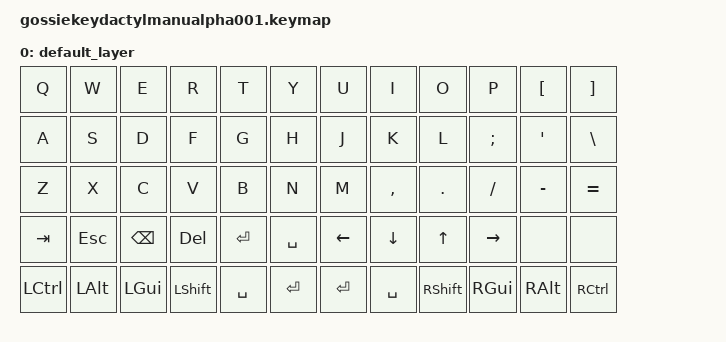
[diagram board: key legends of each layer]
#include <behaviors.dtsi>
#include <dt-bindings/zmk/keys.h>

/ {
    keymap {
        compatible = "zmk,keymap";

        default_layer {
            bindings = <
                &kp Q &kp W &kp E &kp R &kp T &kp Y  &kp U &kp I &kp O &kp P &kp LBKT &kp RBKT
                &kp A &kp S &kp D &kp F &kp G &kp H  &kp J &kp K &kp L &kp SEMI &kp SQT &kp BSLH
                &kp Z &kp X &kp C &kp V &kp B &kp N  &kp M &kp COMMA &kp DOT &kp SLASH &kp MINUS &kp EQUAL
                &kp TAB &kp ESC &kp BSPC &kp DEL &kp RET &kp SPACE  &kp LEFT &kp DOWN &kp UP &kp RIGHT &none &none
                &kp LCTRL &kp LALT &kp LGUI &kp LSHFT &kp SPACE &kp RET  &kp RET &kp SPACE &kp RSHFT &kp RGUI &kp RALT &kp RCTRL
            >;
        };
    };
};
